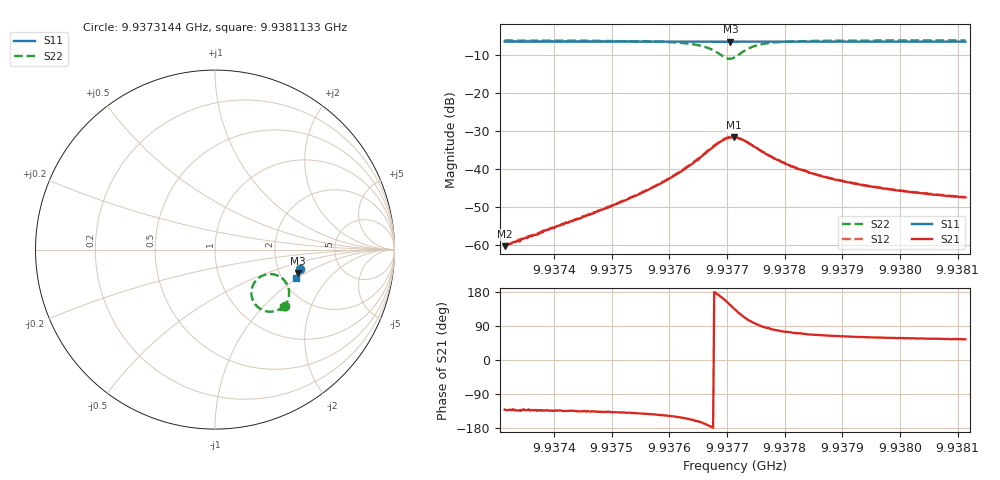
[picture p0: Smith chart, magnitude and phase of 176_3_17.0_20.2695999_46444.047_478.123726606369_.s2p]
#  HZ  S  RI  R  50.00
! Rohde & Schwarz Vector Network Analyzer
! Rohde-Schwarz,ZNB20-2Port,1311601062101988,3.16
! Created: UTC 3/20/2024, 10:59:58 PM
! freq[Hz]  re:S11  im:S11  re:S21  im:S21  re:S12  im:S12  re:S22  im:S22
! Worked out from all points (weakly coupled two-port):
!   401 points, 9.9373144 GHz to 9.9381133 GHz, reference 50 ohm
!   highest |S21| = -31.53 dB at 9.9377118 GHz (marker M1); lowest = -60.2 dB at 9.9373144 GHz (marker M2)
!   lowest |S11| = -6.4 dB at 9.9377058 GHz (marker M3), VSWR 2.84, Z = 125 - j42.6 ohm
!   |S11| at or under -10 dB: nowhere
!   |S22| runs from -10.9 to -6.0 dB; largest |S21 - S12| = 0.0013
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9.93731435e9  0.4714 -0.1074  -0.000637 -0.00074  -0.000691 -0.000746  0.3878 -0.3116
9.93732833e9  0.471 -0.1083  -0.000699 -0.000842  -0.000738 -0.00082  0.3864 -0.3128
9.93744818e9  0.4685 -0.1165  -0.00166 -0.00164  -0.00171 -0.00165  0.3726 -0.3242
9.93752407e9  0.4669 -0.1216  -0.00296 -0.0026  -0.00307 -0.00257  0.3573 -0.3336
9.937582e9  0.4654 -0.1256  -0.00522 -0.00362  -0.00534 -0.00366  0.3353 -0.3424
9.93762394e9  0.4639 -0.1284  -0.00871 -0.00449  -0.009 -0.00442  0.3035 -0.346
9.93766189e9  0.4623 -0.1311  -0.0157 -0.00333  -0.0161 -0.00289  0.2472 -0.3267
9.93767587e9  0.4614 -0.1316  -0.0198 -0.000458  -0.0202 0.000274  0.2197 -0.2982
9.93768786e9  0.4606 -0.1319  -0.0224 0.00474  -0.0228 0.00528  0.2036 -0.2553
9.93769784e9  0.4605 -0.1321  -0.0232 0.0102  -0.0232 0.0114  0.2079 -0.2084
9.93770583e9  0.4601 -0.1317  -0.0215 0.0151  -0.0212 0.0164  0.2285 -0.172
9.93771183e9  0.4601 -0.1317  -0.0191 0.0184  -0.0187 0.0193  0.2531 -0.1514
9.93771382e9  0.4604 -0.1317  -0.0182 0.0191  -0.0176 0.0202  0.2623 -0.1464
9.93772381e9  0.4607 -0.1321  -0.0125 0.0217  -0.0119 0.0224  0.3096 -0.136
9.93773579e9  0.4612 -0.1327  -0.00653 0.0217  -0.0058 0.022  0.3562 -0.148
9.93775976e9  0.4614 -0.1345  0.000264 0.0172  0.0007 0.0175  0.401 -0.1926
9.93778373e9  0.4614 -0.1366  0.00264 0.0136  0.00286 0.0135  0.412 -0.2274
9.9378077e9  0.4608 -0.1383  0.00327 0.011  0.00361 0.0108  0.4125 -0.2502
9.93784765e9  0.46 -0.1412  0.00344 0.00814  0.00364 0.00813  0.4081 -0.2737
9.93791955e9  0.4583 -0.1461  0.00311 0.00574  0.00331 0.00572  0.3989 -0.2956
9.93798147e9  0.4567 -0.1503  0.00284 0.00464  0.00297 0.00466  0.392 -0.3065
9.93811329e9  0.4533 -0.159  0.00249 0.0035  0.00255 0.00351  0.3807 -0.3212
